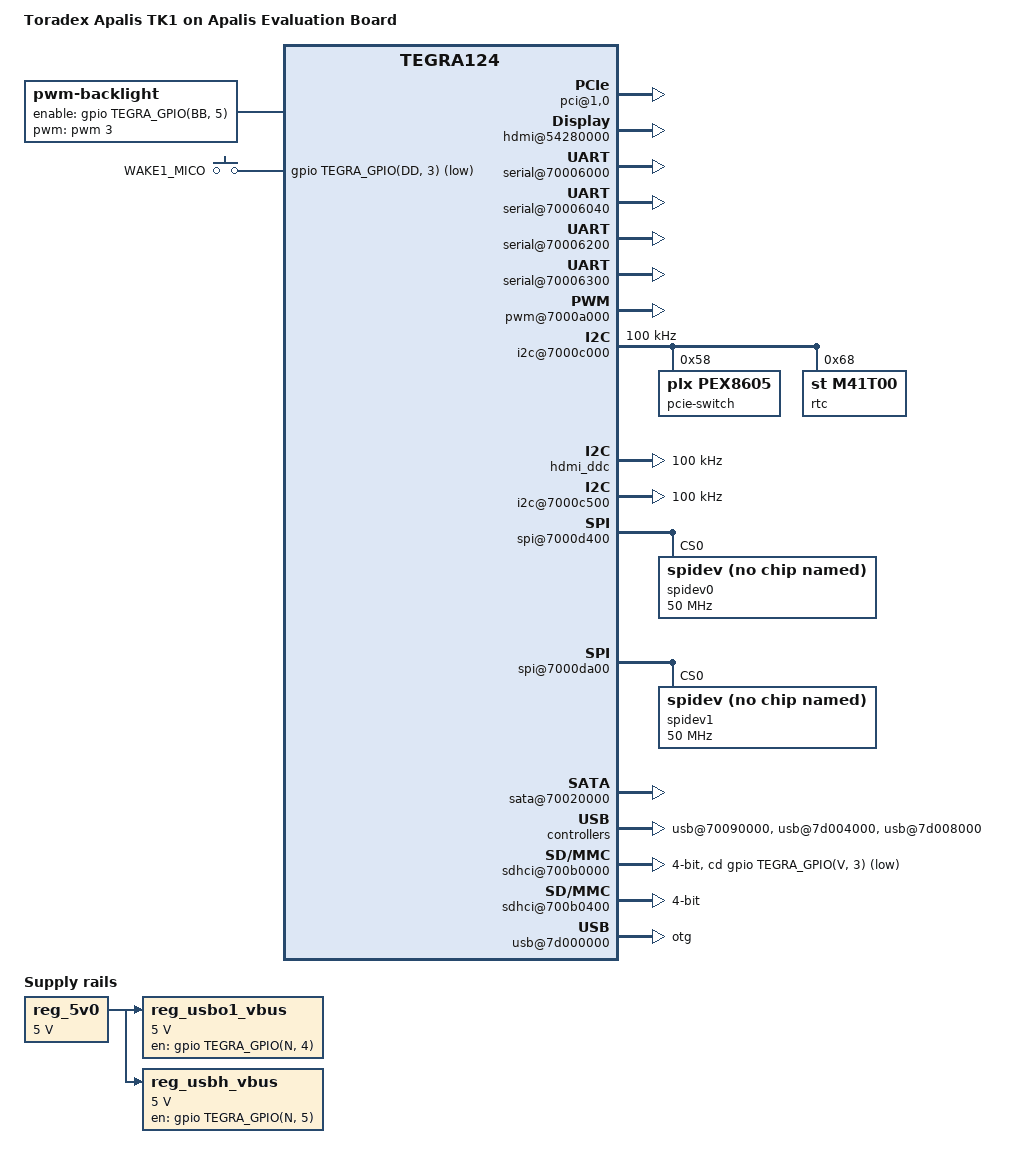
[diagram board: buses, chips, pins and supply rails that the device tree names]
/*
 * Copyright 2016 Toradex AG
 *
 * This file is dual-licensed: you can use it either under the terms
 * of the GPL or the X11 license, at your option. Note that this dual
 * licensing only applies to this file, and not this project as a
 * whole.
 *
 *  a) This file is free software; you can redistribute it and/or
 *     modify it under the terms of the GNU General Public License
 *     version 2 as published by the Free Software Foundation.
 *
 *     This file is distributed in the hope that it will be useful
 *     but WITHOUT ANY WARRANTY; without even the implied warranty of
 *     MERCHANTABILITY or FITNESS FOR A PARTICULAR PURPOSE.  See the
 *     GNU General Public License for more details.
 *
 * Or, alternatively
 *
 *  b) Permission is hereby granted, free of charge, to any person
 *     obtaining a copy of this software and associated documentation
 *     files (the "Software"), to deal in the Software without
 *     restriction, including without limitation the rights to use
 *     copy, modify, merge, publish, distribute, sublicense, and/or
 *     sell copies of the Software, and to permit persons to whom the
 *     Software is furnished to do so, subject to the following
 *     conditions:
 *
 *     The above copyright notice and this permission notice shall be
 *     included in all copies or substantial portions of the Software.
 *
 *     THE SOFTWARE IS PROVIDED , WITHOUT WARRANTY OF ANY KIND
 *     EXPRESS OR IMPLIED, INCLUDING BUT NOT LIMITED TO THE WARRANTIES
 *     OF MERCHANTABILITY, FITNESS FOR A PARTICULAR PURPOSE AND
 *     NONINFRINGEMENT. IN NO EVENT SHALL THE AUTHORS OR COPYRIGHT
 *     HOLDERS BE LIABLE FOR ANY CLAIM, DAMAGES OR OTHER LIABILITY
 *     WHETHER IN AN ACTION OF CONTRACT, TORT OR OTHERWISE, ARISING
 *     FROM, OUT OF OR IN CONNECTION WITH THE SOFTWARE OR THE USE OR
 *     OTHER DEALINGS IN THE SOFTWARE.
 */

/dts-v1/;

#include <dt-bindings/input/input.h>
#include "tegra124-apalis.dtsi"

/ {
	model = "Toradex Apalis TK1 on Apalis Evaluation Board";
	compatible = "toradex,apalis-tk1-eval", "toradex,apalis-tk1",
		     "nvidia,tegra124";

	aliases {
		rtc0 = "/i2c@7000c000/rtc@68";
		rtc1 = "/i2c@7000d000/pmic@40";
		rtc2 = "/rtc@7000e000";
		serial0 = &uarta;
		serial1 = &uartb;
		serial2 = &uartc;
		serial3 = &uartd;
	};

	chosen {
		stdout-path = "serial0:115200n8";
	};

	pcie-controller@01003000 {
		pci@1,0 {
			status = "okay";
		};
	};

	host1x@50000000 {
		hdmi@54280000 {
			status = "okay";
		};
	};

	/* Apalis UART1 */
	serial@70006000 {
		status = "okay";
	};

	/* Apalis UART2 */
	serial@70006040 {
		status = "okay";
	};

	/* Apalis UART3 */
	serial@70006200 {
		status = "okay";
	};

	/* Apalis UART4 */
	serial@70006300 {
		status = "okay";
	};

	pwm@7000a000 {
		status = "okay";
	};

	/*
	 * GEN1_I2C: I2C1_SDA/SCL on MXM3 pin 209/211 (e.g. RTC on carrier
	 * board)
	 */
	i2c@7000c000 {
		status = "okay";
		clock-frequency = <100000>;

		pcie-switch@58 {
			compatible = "plx,pex8605";
			reg = <0x58>;
		};

		/* M41T0M6 real time clock on carrier board */
		rtc@68 {
			compatible = "st,m41t00";
			reg = <0x68>;
		};
	};

	/*
	 * GEN2_I2C: I2C2_SDA/SCL (DDC) on MXM3 pin 205/207 (e.g. display EDID)
	 */
	hdmi_ddc: i2c@7000c400 {
		status = "okay";
		clock-frequency = <100000>;
	};

	/*
	 * CAM_I2C: I2C3_SDA/SCL (CAM) on MXM3 pin 201/203 (e.g. camera sensor
	 * on carrier board)
	 */
	i2c@7000c500 {
		status = "okay";
		clock-frequency = <100000>;
	};

	/* I2C4 (DDC): unused */

	/* SPI1: Apalis SPI1 */
	spi@7000d400 {
		status = "okay";
		spi-max-frequency = <50000000>;

		spidev0: spidev@0 {
			compatible = "spidev";
			reg = <0>;
			spi-max-frequency = <50000000>;
		};
	};

	/* SPI4: Apalis SPI2 */
	spi@7000da00 {
		status = "okay";
		spi-max-frequency = <50000000>;

		spidev1: spidev@0 {
			compatible = "spidev";
			reg = <0>;
			spi-max-frequency = <50000000>;
		};
	};

	/* Apalis Serial ATA */
	sata@70020000 {
		status = "okay";
	};

	hda@70030000 {
		status = "okay";
	};

	usb@70090000 {
		status = "okay";
	};

	/* Apalis MMC1 */
	sdhci@700b0000 {
		status = "okay";
		/* MMC1_CD# */
		cd-gpios = <&gpio TEGRA_GPIO(V, 3) GPIO_ACTIVE_LOW>;
		bus-width = <4>;
		vqmmc-supply = <&vddio_sdmmc1>;
	};

	/* Apalis SD1 */
	sdhci@700b0400 {
		status = "okay";
		/*
		 * Don't use SD1_CD# aka SDMMC3_CLK_LB_OUT for now as it
		 * features some magic properties even though the external
		 * loopback is disabled and the internal loopback used as per
		 * SDMMC_VENDOR_MISC_CNTRL_0 register's SDMMC_SPARE1 bits being
		 * set to 0xfffd according to the TRM!
		 * cd-gpios = <&gpio TEGRA_GPIO(EE, 4) GPIO_ACTIVE_LOW>;
		 */
		bus-width = <4>;
		vqmmc-supply = <&vddio_sdmmc3>;
	};

	/* EHCI instance 0: USB1_DP/N -> USBO1_DP/N */
	usb@7d000000 {
		status = "okay";
		dr_mode = "otg";
	};

	usb-phy@7d000000 {
		status = "okay";
		vbus-supply = <&reg_usbo1_vbus>;
	};

	/* EHCI instance 1: USB2_DP/N -> USBH2_DP/N */
	usb@7d004000 {
		status = "okay";
	};

	usb-phy@7d004000 {
		status = "okay";
		vbus-supply = <&reg_usbh_vbus>;
	};

	/* EHCI instance 2: USB3_DP/N -> USBH4_DP/N */
	usb@7d008000 {
		status = "okay";
	};

	usb-phy@7d008000 {
		status = "okay";
		vbus-supply = <&reg_usbh_vbus>;
	};

	backlight: backlight {
		compatible = "pwm-backlight";

		/* BKL1_PWM */
		pwms = <&pwm 3 5000000>;
		brightness-levels = <255 231 223 207 191 159 127 0>;
		default-brightness-level = <6>;
		/* BKL1_ON */
		enable-gpios = <&gpio TEGRA_GPIO(BB, 5) GPIO_ACTIVE_HIGH>;
	};

	gpio-keys {
		compatible = "gpio-keys";

		wakeup {
			label = "WAKE1_MICO";
			gpios = <&gpio TEGRA_GPIO(DD, 3) GPIO_ACTIVE_LOW>;
			linux,code = <KEY_WAKEUP>;
			debounce-interval = <10>;
			wakeup-source;
		};
	};

	reg_5v0: regulator-5v0 {
		compatible = "regulator-fixed";
		regulator-name = "5V_SW";
		regulator-min-microvolt = <5000000>;
		regulator-max-microvolt = <5000000>;
	};

	/* USBO1_EN */
	reg_usbo1_vbus: regulator-usbo1-vbus {
		compatible = "regulator-fixed";
		regulator-name = "VCC_USBO1";
		regulator-min-microvolt = <5000000>;
		regulator-max-microvolt = <5000000>;
		gpio = <&gpio TEGRA_GPIO(N, 4) GPIO_ACTIVE_HIGH>;
		enable-active-high;
		vin-supply = <&reg_5v0>;
	};

	/* USBH_EN */
	reg_usbh_vbus: regulator-usbh-vbus {
		compatible = "regulator-fixed";
		regulator-name = "VCC_USBH(2A|2C|2D|3|4)";
		regulator-min-microvolt = <5000000>;
		regulator-max-microvolt = <5000000>;
		gpio = <&gpio TEGRA_GPIO(N, 5) GPIO_ACTIVE_HIGH>;
		enable-active-high;
		vin-supply = <&reg_5v0>;
	};
};
